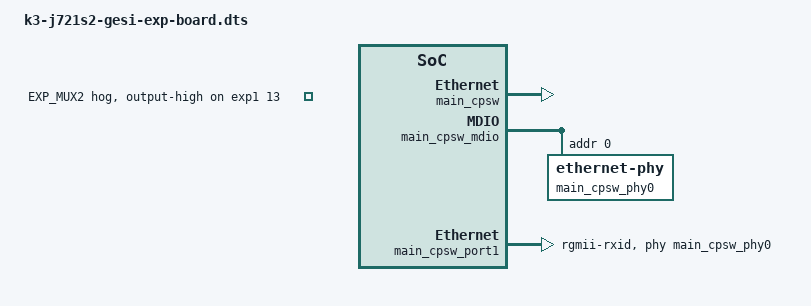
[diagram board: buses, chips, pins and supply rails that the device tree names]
// SPDX-License-Identifier: GPL-2.0
/**
 * GESI Expansion Board for J7 common processor board
 *
 * Copyright (C) 2022 Texas Instruments Incorporated - https://www.ti.com/
 */

/dts-v1/;
/plugin/;

#include <dt-bindings/gpio/gpio.h>
#include <dt-bindings/net/ti-dp83867.h>
#include <dt-bindings/pinctrl/k3.h>

&main_pmx0 {
	main_cpsw_mdio_pins_default: main-cpsw-mdio-pins-default {
		pinctrl-single,pins = <
			J721S2_IOPAD(0x0c0, PIN_OUTPUT, 6) /* (T28) MCASP1_AXR0.MDIO0_MDC */
			J721S2_IOPAD(0x0bc, PIN_INPUT, 6) /* (V28) MCASP1_AFSX.MDIO0_MDIO */
		>;
	};

	rgmii1_pins_default: rgmii1-pins-default {
		pinctrl-single,pins = <
			J721S2_IOPAD(0x0b8, PIN_INPUT, 6) /* (AA24) MCASP1_ACLKX.RGMII1_RD0 */
			J721S2_IOPAD(0x0a0, PIN_INPUT, 6) /* (AB25) MCASP0_AXR12.RGMII1_RD1 */
			J721S2_IOPAD(0x0a4, PIN_INPUT, 6) /* (T23) MCASP0_AXR13.RGMII1_RD2 */
			J721S2_IOPAD(0x0a8, PIN_INPUT, 6) /* (U24) MCASP0_AXR14.RGMII1_RD3 */
			J721S2_IOPAD(0x0b0, PIN_INPUT, 6) /* (AD26) MCASP1_AXR3.RGMII1_RXC */
			J721S2_IOPAD(0x0ac, PIN_INPUT, 6) /* (AC25) MCASP0_AXR15.RGMII1_RX_CTL */
			J721S2_IOPAD(0x08c, PIN_OUTPUT, 6) /* (T25) MCASP0_AXR7.RGMII1_TD0 */
			J721S2_IOPAD(0x090, PIN_OUTPUT, 6) /* (W24) MCASP0_AXR8.RGMII1_TD1 */
			J721S2_IOPAD(0x094, PIN_OUTPUT, 6) /* (AA25) MCASP0_AXR9.RGMII1_TD2 */
			J721S2_IOPAD(0x098, PIN_OUTPUT, 6) /* (V25) MCASP0_AXR10.RGMII1_TD3 */
			J721S2_IOPAD(0x0b4, PIN_OUTPUT, 6) /* (U25) MCASP1_AXR4.RGMII1_TXC */
			J721S2_IOPAD(0x09c, PIN_OUTPUT, 6) /* (T24) MCASP0_AXR11.RGMII1_TX_CTL */
		>;
	};
};

&exp1 {
	p15 {
		/* P15 - EXP_MUX2 */
		gpio-hog;
		gpios = <13 GPIO_ACTIVE_HIGH>;
		output-high;
		line-name = "EXP_MUX2";
	};
};

&main_cpsw {
	pinctrl-names = "default";
	pinctrl-0 = <&main_cpsw_mdio_pins_default
		     &rgmii1_pins_default>;
	status = "okay";
};

&main_cpsw_mdio {
	#address-cells = <1>;
	#size-cells = <0>;

	main_cpsw_phy0: ethernet-phy@0 {
		reg = <0>;
		ti,rx-internal-delay = <DP83867_RGMIIDCTL_2_00_NS>;
		ti,fifo-depth = <DP83867_PHYCR_FIFO_DEPTH_4_B_NIB>;
		ti,min-output-impedance;
	};
};

&main_cpsw_port1 {
	phy-mode = "rgmii-rxid";
	phy-handle = <&main_cpsw_phy0>;
};
